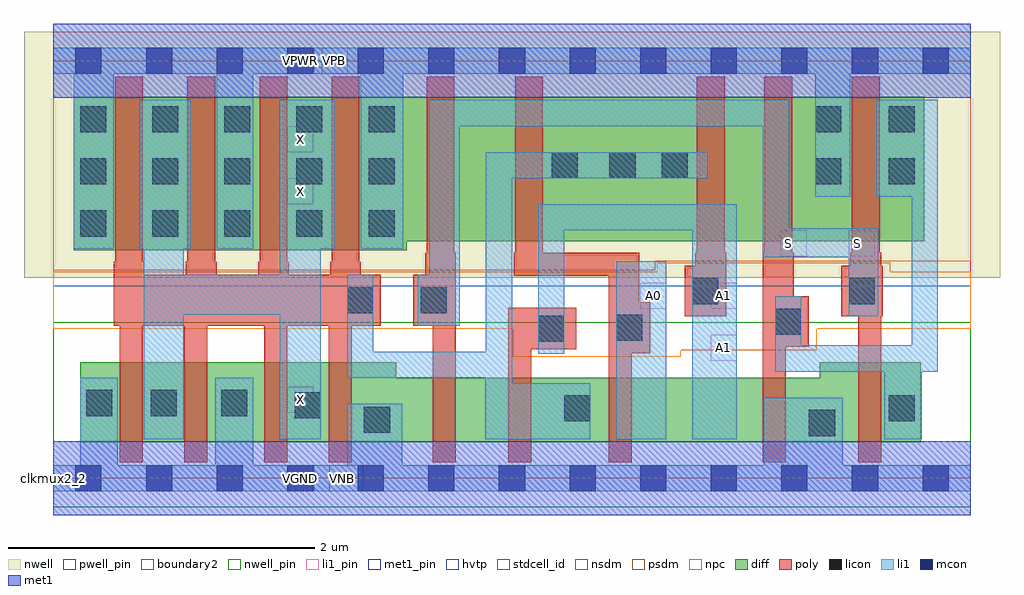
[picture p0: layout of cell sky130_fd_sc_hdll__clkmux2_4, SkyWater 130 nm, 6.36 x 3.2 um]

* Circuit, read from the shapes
.subckt sky130_fd_sc_hdll__clkmux2_4 A0 A1 S VGND VNB VPB VPWR X
XM1 X n1 VGND VNB sky130_fd_pr__nfet_01v8 w=0.52 l=0.15 m=4
XM2 n2 S VGND VNB sky130_fd_pr__nfet_01v8 w=0.42 l=0.15
XM3 n1 A1 n2 VNB sky130_fd_pr__nfet_01v8 w=0.42 l=0.15
XM4 n3 A0 n1 VNB sky130_fd_pr__nfet_01v8 w=0.42 l=0.15
XM5 VGND n4 n3 VNB sky130_fd_pr__nfet_01v8 w=0.42 l=0.15
XM6 n4 S VGND VNB sky130_fd_pr__nfet_01v8 w=0.52 l=0.15
XM7 X n1 VPWR VPB sky130_fd_pr__pfet_01v8_hvt w=1 l=0.18 m=4
XM8 n5 S VPWR VPB sky130_fd_pr__pfet_01v8_hvt w=0.94 l=0.18
XM9 n1 A0 n5 VPB sky130_fd_pr__pfet_01v8_hvt w=0.94 l=0.18
XM10 n6 A1 n1 VPB sky130_fd_pr__pfet_01v8_hvt w=0.94 l=0.18
XM11 VPWR n4 n6 VPB sky130_fd_pr__pfet_01v8_hvt w=0.94 l=0.18
XM12 n4 S VPWR VPB sky130_fd_pr__pfet_01v8_hvt w=0.94 l=0.18
.ends

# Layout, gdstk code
import gdstk
lib = gdstk.Library(unit=1e-6, precision=1e-09)
def R(c, l, rs):  # rectangles x0, y0, x1, y1
    for r in rs: c.add(gdstk.rectangle(r[:2], r[2:], *l))
def A(c, l, x, y, w, h, nx, ny, dx, dy):  # array of equal rectangles
    R(c, l, [(x+i*dx, y+j*dy, x+i*dx+w, y+j*dy+h) for i in range(nx) for j in range(ny)])
def P(c, l, *ps):  # polygons
    for p in ps: c.add(gdstk.Polygon(p, *l))
nwell_pin = (64, 16)
nwell = (64, 20)
diff = (65, 20)
poly = (66, 20)
licon = (66, 44)
li1_pin = (67, 16)
li1 = (67, 20)
mcon = (67, 44)
met1_pin = (68, 16)
met1 = (68, 20)
hvtp = (78, 44)
stdcell_id = (81, 4)
nsdm = (93, 44)
psdm = (94, 20)
npc = (95, 20)
pwell_pin = (122, 16)
boundary2 = (236, 0)

sky130_fd_sc_hdll__clkmu = lib.new_cell('sky130_fd_sc_hdll__clkmux2_4')
R(sky130_fd_sc_hdll__clkmu, nwell_pin, [(1.75,2.635,1.92,2.805)])
R(sky130_fd_sc_hdll__clkmu, nwell, [(-0.19,1.305,6.17,2.91)])
P(sky130_fd_sc_hdll__clkmu, diff, [(5.655,0.755),(4.995,0.755),(4.995,0.655),(2.235,0.655),(2.235,0.755),(0.175,0.755),(0.175,0.235),(5.655,0.235)],
  [(5.675,2.485),(0.135,2.485),(0.135,1.485),(2.305,1.485),(2.305,1.545),(5.675,1.545)])
R(sky130_fd_sc_hdll__clkmu, poly, [(5.245,0.105,5.395,1.055), (5.135,1.055,5.405,1.385)])
P(sky130_fd_sc_hdll__clkmu, poly, [(2.625,1.47),(2.615,1.47),(2.615,2.615),(2.435,2.615),(2.435,1.47),(2.425,1.47),(2.425,1.325),(2.345,1.325),(2.345,0.995),(2.475,0.995),(2.475,0.105),(2.625,0.105)],
  [(3.41,1.11),(2.965,1.11),(2.965,0.105),(3.115,0.105),(3.115,0.84),(3.41,0.84)],
  [(3.89,1.145),(3.82,1.145),(3.82,1.47),(3.19,1.47),(3.19,2.615),(3.01,2.615),(3.01,1.47),(3,1.47),(3,1.32),(3.62,1.32),(3.62,0.105),(3.77,0.105),(3.77,0.815),(3.89,0.815)],
  [(4.385,1.47),(4.375,1.47),(4.375,2.615),(4.195,2.615),(4.195,1.47),(4.185,1.47),(4.185,1.385),(4.115,1.385),(4.115,1.055),(4.385,1.055)],
  [(4.925,1.185),(4.825,1.185),(4.825,1.47),(4.815,1.47),(4.815,2.615),(4.635,2.615),(4.635,1.47),(4.625,1.47),(4.625,0.105),(4.775,0.105),(4.775,0.855),(4.925,0.855)],
  [(1.335,1.325),(1.065,1.325),(1.065,1.41),(1.055,1.41),(1.055,2.615),(0.875,2.615),(0.875,1.41),(0.865,1.41),(0.865,1.325),(0.595,1.325),(0.595,1.41),(0.585,1.41),(0.585,2.615),(0.405,2.615),(0.405,1.41),(0.395,1.41),(0.395,0.995),(0.435,0.995),(0.435,0.105),(0.585,0.105),(0.585,0.995),(0.855,0.995),(0.855,0.105),(1.005,0.105),(1.005,0.995),(1.335,0.995)],
  [(2.135,1.325),(2.005,1.325),(2.005,1.41),(1.995,1.41),(1.995,2.615),(1.815,2.615),(1.815,1.41),(1.805,1.41),(1.805,1.325),(1.535,1.325),(1.535,1.41),(1.525,1.41),(1.525,2.615),(1.345,2.615),(1.345,1.41),(1.335,1.41),(1.335,0.995),(1.375,0.995),(1.375,0.105),(1.525,0.105),(1.525,0.995),(1.795,0.995),(1.795,0.105),(1.945,0.105),(1.945,0.995),(2.135,0.995)],
  [(5.395,1.47),(5.385,1.47),(5.385,2.615),(5.205,2.615),(5.205,1.47),(5.195,1.47),(5.195,1.385),(5.395,1.385)])
A(sky130_fd_sc_hdll__clkmu, licon, 0.175, 1.575, 0.17, 0.17, 5, 3, 0.47, 0.34)
R(sky130_fd_sc_hdll__clkmu, licon, [(4.925,0.275,5.095,0.445), (2.025,0.295,2.195,0.465), (3.33,0.37,3.5,0.54), (5.445,0.37,5.615,0.54), (1.575,0.39,1.745,0.56), (0.215,0.405,0.385,0.575), (0.635,0.405,0.805,0.575), (1.095,0.405,1.265,0.575), (3.16,0.89,3.33,1.06), (3.67,0.895,3.84,1.065), (4.705,0.935,4.875,1.105), (1.915,1.075,2.085,1.245), (2.395,1.075,2.565,1.245), (4.165,1.135,4.335,1.305), (5.185,1.135,5.355,1.305), (4.965,1.915,5.135,2.085), (5.445,1.915,5.615,2.085), (3.25,1.955,3.42,2.125), (3.625,1.955,3.795,2.125), (3.965,1.955,4.135,2.125), (4.965,2.255,5.135,2.425), (5.445,2.255,5.615,2.425)])
R(sky130_fd_sc_hdll__clkmu, li1_pin, [(1.525,0.425,1.695,0.595), (4.285,0.765,4.455,0.935), (3.825,1.105,3.995,1.275), (4.285,1.105,4.455,1.275), (4.74,1.445,4.91,1.615), (5.185,1.445,5.355,1.615), (1.525,1.785,1.695,1.955), (1.525,2.125,1.695,2.295)])
R(sky130_fd_sc_hdll__clkmu, li1, [(3.67,0.255,3.995,1.415), (0.135,1.495,0.395,2.645), (0.565,1.495,0.895,2.465)])
P(sky130_fd_sc_hdll__clkmu, li1, [(5.98,0.085),(5.145,0.085),(5.145,0.525),(4.63,0.525),(4.63,0.085),(2.275,0.085),(2.275,0.485),(1.915,0.485),(1.915,0.085),(1.305,0.085),(1.305,0.655),(1.055,0.655),(1.055,0.085),(0.42,0.085),(0.42,0.655),(0.175,0.655),(0.175,0.085),(0,0.085),(0,-0.085),(5.98,-0.085)],
  [(1.835,2.465),(1.475,2.465),(1.475,1.325),(0.85,1.325),(0.85,1.495),(0.59,1.495),(0.59,0.255),(0.85,0.255),(0.85,1.065),(1.475,1.065),(1.475,0.255),(1.745,0.255),(1.745,1.495),(1.835,1.495)],
  [(4.265,2.125),(2.82,2.125),(2.82,0.825),(2.085,0.825),(2.085,1.325),(1.915,1.325),(1.915,0.655),(2.815,0.655),(2.815,0.255),(3.5,0.255),(3.5,0.62),(2.99,0.62),(2.99,1.955),(4.265,1.955)],
  [(4.455,1.785),(3.16,1.785),(3.16,0.81),(3.33,0.81),(3.33,1.615),(4.165,1.615),(4.165,0.255),(4.455,0.255)],
  [(5.765,2.465),(5.365,2.465),(5.365,1.835),(5.595,1.835),(5.595,0.865),(4.875,0.865),(4.875,1.185),(4.705,1.185),(4.705,0.695),(5.415,0.695),(5.415,0.255),(5.66,0.255),(5.66,0.695),(5.765,0.695)],
  [(5.98,2.805),(0,2.805),(0,2.635),(1.065,2.635),(1.065,1.495),(1.305,1.495),(1.305,2.635),(2.005,2.635),(2.005,1.495),(2.28,1.495),(2.28,2.635),(4.965,2.635),(4.965,1.835),(5.195,1.835),(5.195,2.635),(5.98,2.635)],
  [(5.375,1.63),(4.795,1.63),(4.795,2.465),(2.45,2.465),(2.45,1.325),(2.375,1.325),(2.375,0.995),(2.65,0.995),(2.65,2.295),(4.625,2.295),(4.625,1.44),(5.185,1.44),(5.185,1.055),(5.375,1.055)])
A(sky130_fd_sc_hdll__clkmu, mcon, 0.145, -0.085, 0.17, 0.17, 13, 2, 0.46, 2.72)
R(sky130_fd_sc_hdll__clkmu, met1_pin, [(1.53,-0.085,1.7,0.085), (1.53,2.635,1.7,2.805)])
R(sky130_fd_sc_hdll__clkmu, met1, [(0,-0.24,5.98,0.24), (0,2.48,5.98,2.96)])
R(sky130_fd_sc_hdll__clkmu, hvtp, [(0,1.25,5.98,2.72)])
R(sky130_fd_sc_hdll__clkmu, stdcell_id, [(0,0,5.98,2.72)])
R(sky130_fd_sc_hdll__clkmu, nsdm, [(0,-0.19,5.98,1.015)])
P(sky130_fd_sc_hdll__clkmu, psdm, [(5.98,2.91),(0,2.91),(0,1.355),(3.925,1.355),(3.925,1.415),(5.98,1.415)])
P(sky130_fd_sc_hdll__clkmu, npc, [(5.98,1.345),(5.455,1.345),(5.455,1.405),(3.935,1.405),(3.935,1.345),(0,1.345),(0,0.975),(2.995,0.975),(2.995,0.79),(4.09,0.79),(4.09,0.835),(4.975,0.835),(4.975,0.975),(5.98,0.975)])
R(sky130_fd_sc_hdll__clkmu, pwell_pin, [(1.8,-0.085,2.02,0.085)])
R(sky130_fd_sc_hdll__clkmu, boundary2, [(0,0,5.98,2.72)])
sky130_fd_sc_hdll__clkmu.add(gdstk.Label('VGND', (1.615,0), layer=68, texttype=5))
sky130_fd_sc_hdll__clkmu.add(gdstk.Label('VPWR', (1.615,2.72), layer=68, texttype=5))
sky130_fd_sc_hdll__clkmu.add(gdstk.Label('S', (4.795,1.53), layer=67, texttype=5))
sky130_fd_sc_hdll__clkmu.add(gdstk.Label('A1', (4.37,0.85), layer=67, texttype=5))
sky130_fd_sc_hdll__clkmu.add(gdstk.Label('A1', (4.37,1.19), layer=67, texttype=5))
sky130_fd_sc_hdll__clkmu.add(gdstk.Label('A0', (3.91,1.19), layer=67, texttype=5))
sky130_fd_sc_hdll__clkmu.add(gdstk.Label('X', (1.61,0.51), layer=67, texttype=5))
sky130_fd_sc_hdll__clkmu.add(gdstk.Label('X', (1.61,1.87), layer=67, texttype=5))
sky130_fd_sc_hdll__clkmu.add(gdstk.Label('X', (1.61,2.21), layer=67, texttype=5))
sky130_fd_sc_hdll__clkmu.add(gdstk.Label('S', (5.24,1.53), layer=67, texttype=5))
sky130_fd_sc_hdll__clkmu.add(gdstk.Label('VPB', (1.835,2.72), layer=64, texttype=5))
sky130_fd_sc_hdll__clkmu.add(gdstk.Label('VNB', (1.885,0), layer=64, texttype=59))
sky130_fd_sc_hdll__clkmu.add(gdstk.Label('clkmux2_2', (0,0), layer=83, texttype=44))

lib.write_gds('sky130_fd_sc_hdll__clkmux2_4.gds')
